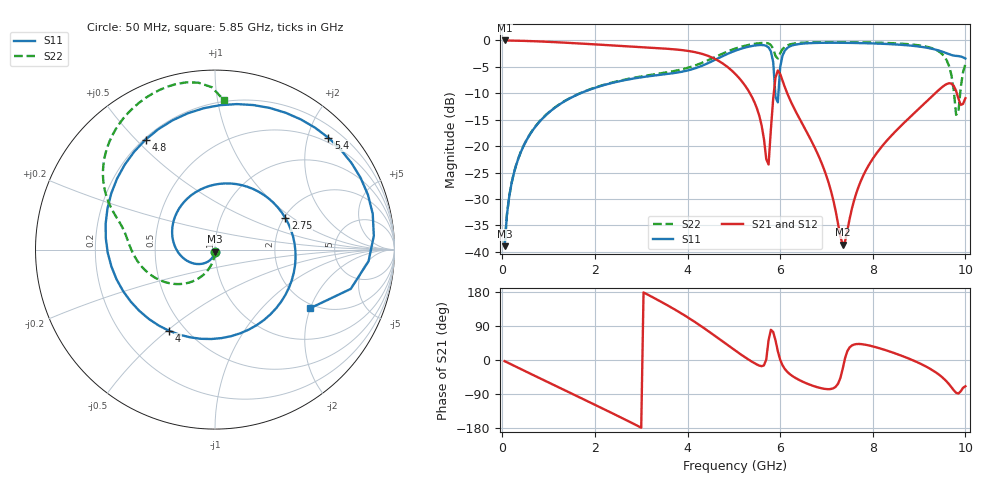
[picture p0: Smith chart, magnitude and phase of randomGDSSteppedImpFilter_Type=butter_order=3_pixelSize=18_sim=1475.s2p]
! freq	dB(S11)	phase(S11)	dB(S12)	phase(S12)
!  dB(S21)	phase(S21)	dB(S22)	phase(S22)
!S-par simulation data
#  GHz  S  DB  R 50
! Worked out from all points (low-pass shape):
!   200 points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, 50 MHz to 10 GHz, reference 50 ohm
!   highest |S21| = -0.01 dB at 50 MHz (marker M1); lowest = -38.7 dB at 7.35 GHz (marker M2)
!   |S21| within 3 dB of the highest: start of sweep to 4.467 GHz
!   lowest |S11| = -38.9 dB at 50 MHz (marker M3), VSWR 1.02, Z = 49.9 - j1.13 ohm
!   |S11| at or under -10 dB: start of sweep to 1.688 GHz; 5.894 GHz to 5.963 GHz (68.59 MHz wide, 1.16 % of centre)
!   |S22| runs from -38.9 to -0.3 dB; largest |S21 - S12| = 0
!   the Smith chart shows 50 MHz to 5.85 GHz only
!   S11 on the Smith chart (normalised r, x): 50 MHz: 1.00, -0.02; 2.75 GHz: 2.03, +0.88; 4 GHz: 0.41, -0.51; 4.8 GHz: 0.21, +0.53; 5.4 GHz: 0.41, +2.38; 5.85 GHz: 1.87, -2.00
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0.05  -38.93 -93.4  -0.01 -3.0  -0.01 -3.0  -38.89 -90.7
0.5  -19.26 -133.2  -0.09 -29.8  -0.09 -29.8  -19.21 -107.4
1.75  -9.77 117.6  -0.62 -103.4  -0.62 -103.4  -9.73 -145.8
2.75  -7.34 24.3  -1.14 -163.1  -1.14 -163.1  -7.22 -171.3
3.4  -6.52 -43.6  -1.48 155.6  -1.48 155.6  -6.26 174.6
4  -5.69 -119.4  -1.97 112.9  -1.97 112.9  -5.19 164.4
4.45  -4.27 174.1  -2.95 76.1  -2.95 76.1  -3.71 155.7
4.8  -2.80 122.2  -4.60 45.2  -4.60 45.2  -2.32 144.6
5.05  -1.88 88.0  -6.51 23.3  -6.51 23.3  -1.49 134.1
5.4  -1.04 44.6  -10.85 -5.2  -10.85 -5.2  -0.71 117.3
5.75  -1.33 -4.3  -23.48 52.6  -23.48 52.6  -0.59 95.7
5.85  -4.11 -31.6  -10.97 73.8  -10.97 73.8  -1.58 86.5
5.95  -11.71 43.4  -5.68 23.2  -5.68 23.2  -3.42 96.4
6  -5.09 39.2  -6.33 0.8  -6.33 0.8  -2.45 100.7
6.2  -1.16 3.7  -10.97 -36.4  -10.97 -36.4  -0.79 90.8
6.7  -0.49 -35.6  -19.45 -67.8  -19.45 -67.8  -0.35 67.5
7.35  -0.45 -70.1  -38.65 -23.5  -38.65 -23.5  -0.32 40.5
8.35  -0.69 -116.0  -18.50 23.1  -18.50 23.1  -0.50 -1.0
9.45  -1.98 176.2  -9.19 -40.6  -9.19 -40.6  -2.22 -65.8
9.75  -2.87 145.6  -8.61 -79.9  -8.61 -79.9  -9.56 -136.8
9.9  -3.04 122.9  -12.19 -82.5  -12.19 -82.5  -8.82 52.2
10  -3.43 103.5  -10.94 -69.4  -10.94 -69.4  -4.50 12.3
